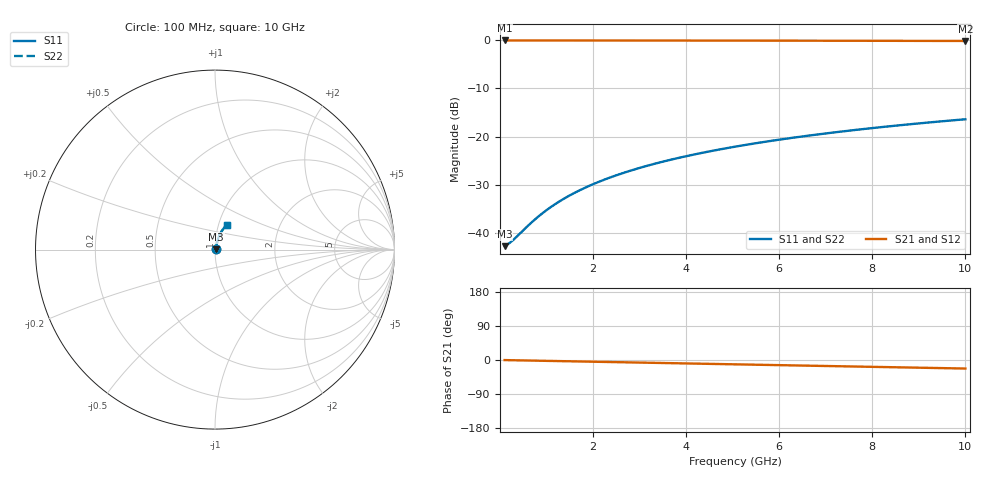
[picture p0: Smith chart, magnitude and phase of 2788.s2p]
# Hz S RI R 50.00
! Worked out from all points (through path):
!   100 points, 100 MHz to 10 GHz, reference 50 ohm
!   highest |S21| = -0.06 dB at 100 MHz (marker M1); lowest = -0.2 dB at 10 GHz (marker M2)
!   group delay of S21, straight-line fit = 6.26 ps
!   lowest |S11| = -42.7 dB at 100 MHz (marker M3), VSWR 1.01, Z = 50.7 + j0.156 ohm
!   |S11| at or under -10 dB: start of sweep to end of sweep
!   |S22| runs from -42.7 to -16.4 dB; largest |S21 - S12| = 0
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1e8  0.00714 0.00153  0.9929 -0.00393  0.9929 -0.00393  0.00714 0.00153
2e8  0.00721 0.00307  0.9928 -0.00786  0.9928 -0.00786  0.00721 0.00307
3e8  0.00727 0.0046  0.9927 -0.0118  0.9927 -0.0118  0.00727 0.0046
7e8  0.0076 0.0107  0.9922 -0.0275  0.9922 -0.0275  0.0076 0.0107
8e8  0.00771 0.0123  0.9921 -0.0314  0.9921 -0.0314  0.00771 0.0123
1e9  0.00796 0.0153  0.9917 -0.0393  0.9917 -0.0393  0.00796 0.0153
1.2e9  0.00825 0.0184  0.9913 -0.0471  0.9913 -0.0471  0.00825 0.0184
1.4e9  0.00859 0.0214  0.9908 -0.0549  0.9908 -0.0549  0.00859 0.0214
1.6e9  0.00898 0.0245  0.9903 -0.0628  0.9903 -0.0628  0.00898 0.0245
1.8e9  0.00941 0.0275  0.9896 -0.0706  0.9896 -0.0706  0.00941 0.0275
2.1e9  0.0101 0.032  0.9885 -0.0823  0.9885 -0.0823  0.0101 0.032
2.5e9  0.0113 0.038  0.9869 -0.0979  0.9869 -0.0979  0.0113 0.038
2.9e9  0.0126 0.044  0.9849 -0.1135  0.9849 -0.1135  0.0126 0.044
3.4e9  0.0145 0.0514  0.982 -0.1328  0.982 -0.1328  0.0145 0.0514
3.8e9  0.0163 0.0573  0.9795 -0.1483  0.9795 -0.1483  0.0163 0.0573
4.2e9  0.0182 0.0631  0.9766 -0.1636  0.9766 -0.1636  0.0182 0.0631
5.1e9  0.0232 0.0758  0.9692 -0.1979  0.9692 -0.1979  0.0232 0.0758
5.9e9  0.0284 0.0868  0.9614 -0.2281  0.9614 -0.2281  0.0284 0.0868
6.7e9  0.0343 0.0975  0.9526 -0.2579  0.9526 -0.2579  0.0343 0.0975
7.5e9  0.0408 0.1077  0.9428 -0.2872  0.9428 -0.2872  0.0408 0.1077
8.4e9  0.0488 0.1187  0.9305 -0.3197  0.9305 -0.3197  0.0488 0.1187
1e10  0.0649 0.1366  0.9058 -0.3757  0.9058 -0.3757  0.0649 0.1366
